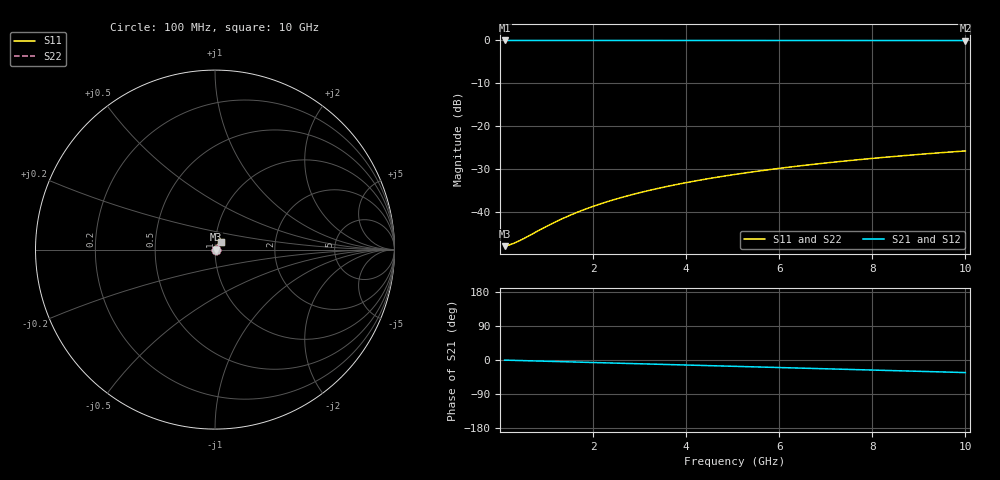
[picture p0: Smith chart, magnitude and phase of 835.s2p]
# Hz S RI R 50.00
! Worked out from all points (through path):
!   100 points, 100 MHz to 10 GHz, reference 50 ohm
!   highest |S21| = -0.03 dB at 100 MHz (marker M1); lowest = -0.1 dB at 10 GHz (marker M2)
!   group delay of S21, straight-line fit = 9.22 ps
!   lowest |S11| = -48.0 dB at 100 MHz (marker M3), VSWR 1.01, Z = 50.4 + j0.0527 ohm
!   |S11| at or under -10 dB: start of sweep to end of sweep
!   |S22| runs from -48.0 to -25.8 dB; largest |S21 - S12| = 0
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1e8  0.00397 0.000523  0.996 -0.00575  0.996 -0.00575  0.00397 0.000523
2e8  0.004 0.00105  0.9959 -0.0115  0.9959 -0.0115  0.004 0.00105
3e8  0.00403 0.00157  0.9958 -0.0173  0.9958 -0.0173  0.00403 0.00157
4e8  0.00407 0.00209  0.9957 -0.023  0.9957 -0.023  0.00407 0.00209
6e8  0.00415 0.00313  0.9953 -0.0345  0.9953 -0.0345  0.00415 0.00313
1e9  0.00438 0.00521  0.9942 -0.0575  0.9942 -0.0575  0.00438 0.00521
1.2e9  0.00452 0.00624  0.9934 -0.069  0.9934 -0.069  0.00452 0.00624
1.5e9  0.00478 0.00779  0.9921 -0.0862  0.9921 -0.0862  0.00478 0.00779
1.8e9  0.00509 0.00932  0.9904 -0.1034  0.9904 -0.1034  0.00509 0.00932
2.1e9  0.00546 0.0108  0.9884 -0.1205  0.9884 -0.1205  0.00546 0.0108
2.5e9  0.00603 0.0128  0.9853 -0.1434  0.9853 -0.1434  0.00603 0.0128
2.9e9  0.00669 0.0148  0.9816 -0.1661  0.9816 -0.1661  0.00669 0.0148
3.4e9  0.00764 0.0172  0.9763 -0.1944  0.9763 -0.1944  0.00764 0.0172
3.8e9  0.0085 0.0191  0.9715 -0.2169  0.9715 -0.2169  0.0085 0.0191
4.2e9  0.00945 0.021  0.9662 -0.2393  0.9662 -0.2393  0.00945 0.021
4.6e9  0.0105 0.0228  0.9603 -0.2616  0.9603 -0.2616  0.0105 0.0228
5.1e9  0.0119 0.025  0.9522 -0.2893  0.9522 -0.2893  0.0119 0.025
5.9e9  0.0144 0.0283  0.9377 -0.333  0.9377 -0.333  0.0144 0.0283
6.7e9  0.0172 0.0313  0.921 -0.376  0.921 -0.376  0.0172 0.0313
7.5e9  0.0203 0.0341  0.9024 -0.4182  0.9024 -0.4182  0.0203 0.0341
8.4e9  0.0241 0.0369  0.8792 -0.4646  0.8792 -0.4646  0.0241 0.0369
1e10  0.0314 0.0407  0.8319 -0.5439  0.8319 -0.5439  0.0314 0.0407
